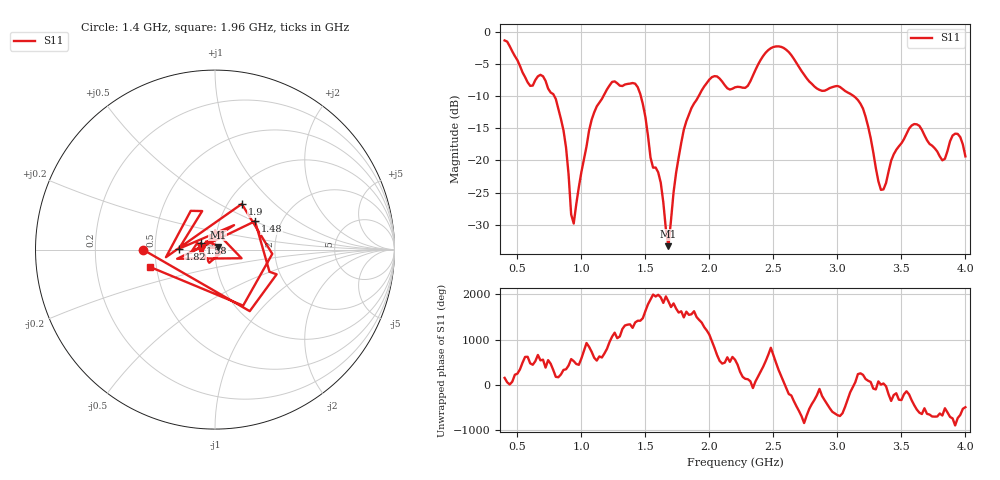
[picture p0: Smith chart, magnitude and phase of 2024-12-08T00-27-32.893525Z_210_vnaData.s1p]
!Created with skrf (http://scikit-rf.org).
# Hz S RI R 50.0
!freq ReS11 ImS11
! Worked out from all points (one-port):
!   181 points, 400 MHz to 4 GHz, reference 50 ohm
!   lowest |S11| = -33.3 dB at 1.68 GHz (marker M1), VSWR 1.04, Z = 51.5 + j1.56 ohm
!   |S11| at or under -10 dB: 787.6 MHz to 1.172 GHz (384.8 MHz wide, 39.3 % of centre); 1.464 GHz to 1.917 GHz (453.1 MHz wide, 26.8 % of centre); 3.126 GHz to end of sweep
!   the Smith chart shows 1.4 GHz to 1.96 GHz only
!   S11 on the Smith chart (normalised r, x): 1.4 GHz: 0.43, -0.00; 1.48 GHz: 1.47, +0.50; 1.58 GHz: 0.85, +0.06; 1.82 GHz: 0.66, +0.01; 1.9 GHz: 1.16, +0.65; 1.96 GHz: 0.46, -0.10
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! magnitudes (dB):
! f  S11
! 400 MHz  -1.4
! 600 MHz  -8.4
! 700 MHz  -6.9
! 860 MHz  -15.3
! 940 MHz  -29.8
! 1.08 GHz  -13.7
! 1.3 GHz  -8.4
! 1.4 GHz  -8.0
! 1.48 GHz  -11.3
! 1.54 GHz  -19.6
! 1.58 GHz  -21.1
! 1.62 GHz  -23.5
! 1.68 GHz  -33.3
! 1.76 GHz  -19.5
! 1.82 GHz  -13.9
! 1.9 GHz  -10.6
! 1.96 GHz  -8.5
! 2.2 GHz  -8.7
! 2.48 GHz  -2.6
! 2.66 GHz  -4.2
! 2.84 GHz  -8.8
! 3.1 GHz  -9.7
! 3.22 GHz  -13.2
! 3.34 GHz  -24.6
! 3.56 GHz  -15.1
! 3.82 GHz  -20.0
! 3.94 GHz  -15.9
! 4 GHz  -19.4
